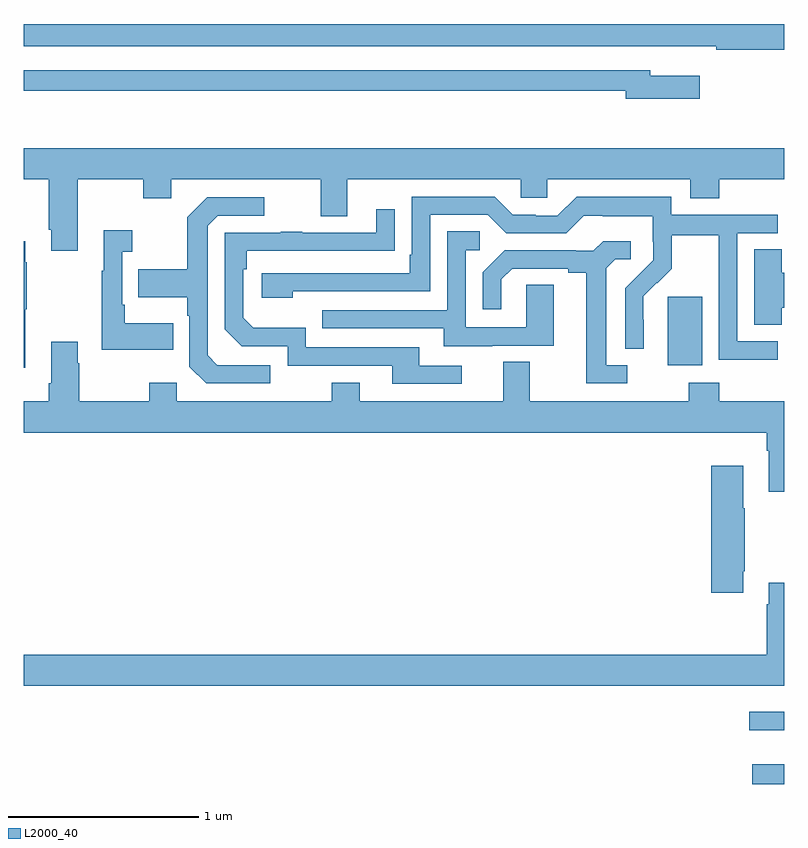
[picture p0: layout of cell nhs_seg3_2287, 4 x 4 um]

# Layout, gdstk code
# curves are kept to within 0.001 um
import gdstk
lib = gdstk.Library(unit=1e-6, precision=1e-09)
def R(c, l, rs):  # rectangles x0, y0, x1, y1
    for r in rs: c.add(gdstk.rectangle(r[:2], r[2:], *l))
def P(c, l, *ps):  # polygons
    for p in ps: c.add(gdstk.Polygon(p, *l))
L2000_40 = (2000, 40)

nhs_seg3_2287 = lib.new_cell('nhs_seg3_2287')
R(nhs_seg3_2287, L2000_40, [(232.832,700.4,233,700.504), (232.815,700.683,233,700.78), (232.388,702.602,232.567,702.963)])
P(nhs_seg3_2287, L2000_40, [(233,704.396),(229,704.396),(229,704.28),(232.39,704.28),(232.39,704.279),(232.642,704.279),(232.642,704.26),(233,704.26)],
  [(232.555,704.125),(232.294,704.125),(232.294,704.154),(229,704.154),(229,704.046),(232.166,704.046),(232.166,704.003),(232.555,704.003)],
  [(229.285,703.58),(229.63,703.58),(229.63,703.481),(229.777,703.481),(229.777,703.58),(230.561,703.58),(230.561,703.386),(230.701,703.386),(230.701,703.58),(231.615,703.58),(231.615,703.482),(231.753,703.482),(231.753,703.58),(232.505,703.58),(232.505,703.481),(232.658,703.481),(232.658,703.58),(233,703.58),(233,703.744),(229,703.744),(229,703.58),(229.133,703.58),(229.133,703.315),(229.145,703.315),(229.145,703.203),(229.285,703.203)],
  [(232.966,702.729),(232.752,702.729),(232.752,703.296),(232.966,703.296),(232.966,703.392),(232.404,703.392),(232.404,703.489),(231.907,703.489),(231.807,703.389),(231.692,703.389),(231.692,703.392),(231.573,703.392),(231.477,703.488),(231.042,703.488),(231.042,703.183),(231.029,703.183),(231.029,703.086),(230.253,703.086),(230.253,702.956),(230.414,702.956),(230.414,702.99),(231.138,702.99),(231.138,703.392),(231.441,703.392),(231.537,703.296),(231.852,703.296),(231.945,703.389),(232.045,703.389),(232.045,703.385),(232.308,703.385),(232.308,703.251),(232.31,703.251),(232.31,703.154),(232.164,703.006),(232.164,702.688),(232.26,702.688),(232.259,702.965),(232.329,703.035),(232.332,703.032),(232.409,703.109),(232.409,703.284),(232.654,703.284),(232.654,703.06),(232.656,703.06),(232.656,702.631),(232.966,702.631)],
  [(230.296,702.603),(230.019,702.603),(229.968,702.654),(229.968,703.335),(230.022,703.389),(230.266,703.389),(230.266,703.485),(229.965,703.485),(229.86,703.379),(229.86,703.107),(229.603,703.107),(229.603,702.959),(229.86,702.959),(229.86,702.863),(229.872,702.863),(229.872,702.594),(229.959,702.507),(230.296,702.507)],
  [(231.304,702.6),(231.079,702.6),(231.079,702.696),(230.484,702.696),(230.484,702.799),(230.207,702.799),(230.154,702.852),(230.154,703.106),(230.174,703.106),(230.174,703.203),(230.951,703.204),(230.951,703.423),(230.855,703.423),(230.855,703.299),(230.465,703.299),(230.465,703.304),(230.353,703.304),(230.353,703.299),(230.058,703.299),(230.058,702.792),(230.148,702.702),(230.388,702.702),(230.388,702.6),(230.939,702.6),(230.939,702.504),(231.304,702.504)],
  [(229.787,702.823),(229.531,702.823),(229.531,702.919),(229.518,702.919),(229.518,703.199),(229.57,703.199),(229.57,703.312),(229.421,703.312),(229.421,703.099),(229.41,703.099),(229.41,702.683),(229.787,702.683)],
  [(231.463,702.705),(231.787,702.705),(231.787,703.025),(231.642,703.025),(231.642,702.801),(231.324,702.801),(231.324,703.206),(231.397,703.206),(231.397,703.307),(231.228,703.307),(231.228,702.891),(230.569,702.891),(230.569,702.795),(231.209,702.795),(231.209,702.701),(231.463,702.701)],
  [(229.009,702.897),(229.017,702.897),(229.017,703.142),(229.009,703.142),(229.009,703.255),(229,703.255),(229,702.588),(229.009,702.588)],
  [(232.174,702.603),(232.063,702.603),(232.063,703.111),(232.11,703.158),(232.192,703.158),(232.192,703.255),(232.048,703.255),(231.996,703.203),(231.902,703.203),(231.902,703.206),(231.53,703.206),(231.414,703.09),(231.414,702.897),(231.511,702.897),(231.511,703.053),(231.568,703.11),(231.863,703.11),(231.863,703.088),(231.959,703.088),(231.959,702.507),(232.174,702.507)],
  [(232.985,702.905),(233,702.905),(233,703.088),(232.985,703.088),(232.985,703.211),(232.841,703.211),(232.841,702.814),(232.985,702.814)],
  [(233,702.412),(232.658,702.412),(232.658,702.511),(232.498,702.511),(232.498,702.412),(231.661,702.412),(231.661,702.62),(231.521,702.62),(231.521,702.412),(230.767,702.412),(230.767,702.511),(230.62,702.511),(230.62,702.412),(229.806,702.412),(229.806,702.511),(229.66,702.511),(229.66,702.412),(229.293,702.412),(229.293,702.611),(229.285,702.611),(229.285,702.724),(229.145,702.724),(229.145,702.508),(229.133,702.508),(229.133,702.412),(229,702.412),(229,702.248),(232.907,702.248),(232.907,702.152),(232.919,702.152),(232.919,701.937),(233,701.937)],
  [(232.783,701.518),(232.791,701.518),(232.791,701.849),(232.783,701.849),(232.783,702.073),(232.616,702.073),(232.616,701.406),(232.783,701.406)],
  [(233,701.458),(232.919,701.458),(232.919,701.345),(232.907,701.345),(232.907,701.08),(229,701.08),(229,700.916),(233,700.916)])

lib.write_gds('nhs_seg3_2287.gds')
